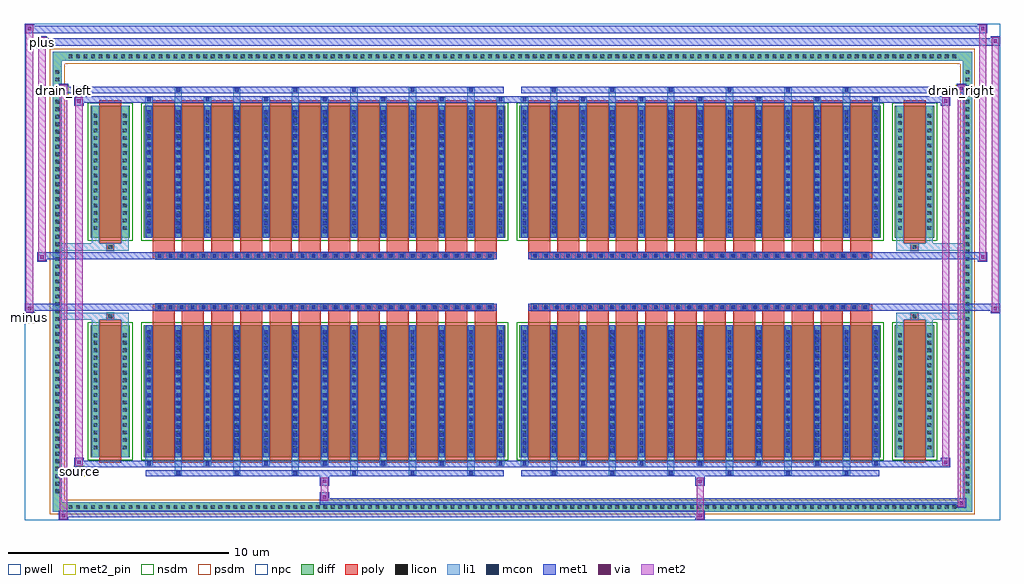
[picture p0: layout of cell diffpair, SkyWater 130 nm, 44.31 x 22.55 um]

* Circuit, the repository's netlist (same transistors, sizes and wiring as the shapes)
* NGSPICE file created from diffpair.ext - technology: sky130A

.subckt diffpair minus drain_right drain_left source plus
X0 source plus drain_left a_n4174_n2088# sky130_fd_pr__nfet_01v8 ad=0.99 pd=6.33 as=0.99 ps=6.33 w=6 l=1
X1 source minus drain_right a_n4174_n2088# sky130_fd_pr__nfet_01v8 ad=0.99 pd=6.33 as=0.99 ps=6.33 w=6 l=1
X2 drain_right minus source a_n4174_n2088# sky130_fd_pr__nfet_01v8 ad=0.99 pd=6.33 as=0.99 ps=6.33 w=6 l=1
X3 a_n4174_n2088# a_n4174_n2088# a_n4174_n2088# a_n4174_n2088# sky130_fd_pr__nfet_01v8 ad=2.34 pd=12.78 as=18.72 ps=102.24 w=6 l=1
X4 source plus drain_left a_n4174_n2088# sky130_fd_pr__nfet_01v8 ad=0.99 pd=6.33 as=0.99 ps=6.33 w=6 l=1
X5 drain_left plus source a_n4174_n2088# sky130_fd_pr__nfet_01v8 ad=0.99 pd=6.33 as=0.99 ps=6.33 w=6 l=1
X6 source minus drain_right a_n4174_n2088# sky130_fd_pr__nfet_01v8 ad=2.34 pd=12.78 as=0.99 ps=6.33 w=6 l=1
X7 drain_left plus source a_n4174_n2088# sky130_fd_pr__nfet_01v8 ad=0.99 pd=6.33 as=0.99 ps=6.33 w=6 l=1
X8 drain_left plus source a_n4174_n2088# sky130_fd_pr__nfet_01v8 ad=0.99 pd=6.33 as=0.99 ps=6.33 w=6 l=1
X9 drain_right minus source a_n4174_n2088# sky130_fd_pr__nfet_01v8 ad=0.99 pd=6.33 as=0.99 ps=6.33 w=6 l=1
X10 drain_right minus source a_n4174_n2088# sky130_fd_pr__nfet_01v8 ad=0.99 pd=6.33 as=0.99 ps=6.33 w=6 l=1
X11 source minus drain_right a_n4174_n2088# sky130_fd_pr__nfet_01v8 ad=0.99 pd=6.33 as=0.99 ps=6.33 w=6 l=1
X12 drain_left plus source a_n4174_n2088# sky130_fd_pr__nfet_01v8 ad=0.99 pd=6.33 as=0.99 ps=6.33 w=6 l=1
X13 source plus drain_left a_n4174_n2088# sky130_fd_pr__nfet_01v8 ad=2.34 pd=12.78 as=0.99 ps=6.33 w=6 l=1
X14 drain_left plus source a_n4174_n2088# sky130_fd_pr__nfet_01v8 ad=0.99 pd=6.33 as=0.99 ps=6.33 w=6 l=1
X15 drain_left plus source a_n4174_n2088# sky130_fd_pr__nfet_01v8 ad=0.99 pd=6.33 as=2.34 ps=12.78 w=6 l=1
X16 source plus drain_left a_n4174_n2088# sky130_fd_pr__nfet_01v8 ad=0.99 pd=6.33 as=0.99 ps=6.33 w=6 l=1
X17 drain_right minus source a_n4174_n2088# sky130_fd_pr__nfet_01v8 ad=0.99 pd=6.33 as=0.99 ps=6.33 w=6 l=1
X18 source minus drain_right a_n4174_n2088# sky130_fd_pr__nfet_01v8 ad=0.99 pd=6.33 as=0.99 ps=6.33 w=6 l=1
X19 source plus drain_left a_n4174_n2088# sky130_fd_pr__nfet_01v8 ad=0.99 pd=6.33 as=0.99 ps=6.33 w=6 l=1
X20 drain_left plus source a_n4174_n2088# sky130_fd_pr__nfet_01v8 ad=0.99 pd=6.33 as=0.99 ps=6.33 w=6 l=1
X21 source plus drain_left a_n4174_n2088# sky130_fd_pr__nfet_01v8 ad=0.99 pd=6.33 as=0.99 ps=6.33 w=6 l=1
X22 drain_left plus source a_n4174_n2088# sky130_fd_pr__nfet_01v8 ad=0.99 pd=6.33 as=0.99 ps=6.33 w=6 l=1
X23 drain_right minus source a_n4174_n2088# sky130_fd_pr__nfet_01v8 ad=0.99 pd=6.33 as=0.99 ps=6.33 w=6 l=1
X24 drain_left plus source a_n4174_n2088# sky130_fd_pr__nfet_01v8 ad=0.99 pd=6.33 as=0.99 ps=6.33 w=6 l=1
X25 source plus drain_left a_n4174_n2088# sky130_fd_pr__nfet_01v8 ad=0.99 pd=6.33 as=0.99 ps=6.33 w=6 l=1
X26 source minus drain_right a_n4174_n2088# sky130_fd_pr__nfet_01v8 ad=0.99 pd=6.33 as=0.99 ps=6.33 w=6 l=1
X27 source plus drain_left a_n4174_n2088# sky130_fd_pr__nfet_01v8 ad=0.99 pd=6.33 as=0.99 ps=6.33 w=6 l=1
X28 drain_right minus source a_n4174_n2088# sky130_fd_pr__nfet_01v8 ad=0.99 pd=6.33 as=0.99 ps=6.33 w=6 l=1
X29 source plus drain_left a_n4174_n2088# sky130_fd_pr__nfet_01v8 ad=0.99 pd=6.33 as=0.99 ps=6.33 w=6 l=1
X30 source plus drain_left a_n4174_n2088# sky130_fd_pr__nfet_01v8 ad=0.99 pd=6.33 as=0.99 ps=6.33 w=6 l=1
X31 drain_right minus source a_n4174_n2088# sky130_fd_pr__nfet_01v8 ad=0.99 pd=6.33 as=2.34 ps=12.78 w=6 l=1
X32 drain_right minus source a_n4174_n2088# sky130_fd_pr__nfet_01v8 ad=0.99 pd=6.33 as=0.99 ps=6.33 w=6 l=1
X33 drain_left plus source a_n4174_n2088# sky130_fd_pr__nfet_01v8 ad=0.99 pd=6.33 as=2.34 ps=12.78 w=6 l=1
X34 source minus drain_right a_n4174_n2088# sky130_fd_pr__nfet_01v8 ad=0.99 pd=6.33 as=0.99 ps=6.33 w=6 l=1
X35 drain_right minus source a_n4174_n2088# sky130_fd_pr__nfet_01v8 ad=0.99 pd=6.33 as=2.34 ps=12.78 w=6 l=1
X36 source minus drain_right a_n4174_n2088# sky130_fd_pr__nfet_01v8 ad=2.34 pd=12.78 as=0.99 ps=6.33 w=6 l=1
X37 source minus drain_right a_n4174_n2088# sky130_fd_pr__nfet_01v8 ad=0.99 pd=6.33 as=0.99 ps=6.33 w=6 l=1
X38 drain_right minus source a_n4174_n2088# sky130_fd_pr__nfet_01v8 ad=0.99 pd=6.33 as=0.99 ps=6.33 w=6 l=1
X39 drain_right minus source a_n4174_n2088# sky130_fd_pr__nfet_01v8 ad=0.99 pd=6.33 as=0.99 ps=6.33 w=6 l=1
X40 drain_right minus source a_n4174_n2088# sky130_fd_pr__nfet_01v8 ad=0.99 pd=6.33 as=0.99 ps=6.33 w=6 l=1
X41 drain_left plus source a_n4174_n2088# sky130_fd_pr__nfet_01v8 ad=0.99 pd=6.33 as=0.99 ps=6.33 w=6 l=1
X42 drain_left plus source a_n4174_n2088# sky130_fd_pr__nfet_01v8 ad=0.99 pd=6.33 as=0.99 ps=6.33 w=6 l=1
X43 a_n4174_n2088# a_n4174_n2088# a_n4174_n2088# a_n4174_n2088# sky130_fd_pr__nfet_01v8 ad=2.34 pd=12.78 as=0 ps=0 w=6 l=1
X44 a_n4174_n2088# a_n4174_n2088# a_n4174_n2088# a_n4174_n2088# sky130_fd_pr__nfet_01v8 ad=2.34 pd=12.78 as=0 ps=0 w=6 l=1
X45 source minus drain_right a_n4174_n2088# sky130_fd_pr__nfet_01v8 ad=0.99 pd=6.33 as=0.99 ps=6.33 w=6 l=1
X46 source minus drain_right a_n4174_n2088# sky130_fd_pr__nfet_01v8 ad=0.99 pd=6.33 as=0.99 ps=6.33 w=6 l=1
X47 source plus drain_left a_n4174_n2088# sky130_fd_pr__nfet_01v8 ad=0.99 pd=6.33 as=0.99 ps=6.33 w=6 l=1
X48 source minus drain_right a_n4174_n2088# sky130_fd_pr__nfet_01v8 ad=0.99 pd=6.33 as=0.99 ps=6.33 w=6 l=1
X49 source minus drain_right a_n4174_n2088# sky130_fd_pr__nfet_01v8 ad=0.99 pd=6.33 as=0.99 ps=6.33 w=6 l=1
X50 a_n4174_n2088# a_n4174_n2088# a_n4174_n2088# a_n4174_n2088# sky130_fd_pr__nfet_01v8 ad=2.34 pd=12.78 as=0 ps=0 w=6 l=1
X51 source plus drain_left a_n4174_n2088# sky130_fd_pr__nfet_01v8 ad=2.34 pd=12.78 as=0.99 ps=6.33 w=6 l=1
.ends

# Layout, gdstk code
import gdstk
lib = gdstk.Library(unit=1e-6, precision=5e-09)
def R(c, l, rs):  # rectangles x0, y0, x1, y1
    for r in rs: c.add(gdstk.rectangle(r[:2], r[2:], *l))
def A(c, l, x, y, w, h, nx, ny, dx, dy):  # array of equal rectangles
    R(c, l, [(x+i*dx, y+j*dy, x+i*dx+w, y+j*dy+h) for i in range(nx) for j in range(ny)])
def P(c, l, *ps):  # polygons
    for p in ps: c.add(gdstk.Polygon(p, *l))
pwell = (64, 44)
diff = (65, 20)
poly = (66, 20)
licon = (66, 44)
li1 = (67, 20)
mcon = (67, 44)
met1 = (68, 20)
via = (68, 44)
met2_pin = (69, 16)
met2 = (69, 20)
nsdm = (93, 44)
psdm = (94, 20)
npc = (95, 20)

diffpair = lib.new_cell('diffpair')
R(diffpair, pwell, [(-22.14,-10.84,22.14,11.71), (-19.46,-9.03,-0.01,-0.805), (0.01,-9.03,19.46,-0.805), (-19.46,0.805,-0.01,9.03), (0.01,0.805,19.46,9.03)])
A(diffpair, diff, -20.265, -10.44, 0.41, 0.41, 119, 2, 0.34, 20.47)
A(diffpair, diff, -20.87, -9.725, 0.41, 0.41, 1, 57, 0, 0.34)
A(diffpair, diff, 20.46, -9.725, 0.41, 0.41, 1, 57, 0, 0.34)
R(diffpair, diff, [(-20.265,-10.44,20.265,-10.03), (-20.87,-9.725,-20.46,9.725), (20.46,-9.725,20.87,9.725), (-19.15,-7.985,-17.37,-1.985), (-16.73,-7.985,-0.32,-1.985), (0.32,-7.985,16.73,-1.985), (17.37,-7.985,19.15,-1.985), (-19.15,1.985,-17.37,7.985), (-16.73,1.985,-0.32,7.985), (0.32,1.985,16.73,7.985), (17.37,1.985,19.15,7.985), (-20.265,10.03,20.265,10.44)])
P(diffpair, diff, [(20.87,10.44),(-20.87,10.44),(-20.87,-10.03),(-20.46,-10.03),(-20.46,10.03),(20.46,10.03),(20.46,-10.03),(-20.46,-10.03),(-20.87,-10.03),(-20.87,-10.44),(20.87,-10.44)])
A(diffpair, poly, -16.34, -8.235, 1, 6.5, 12, 2, 1.33, 9.97)
A(diffpair, poly, 0.71, -8.235, 1, 6.5, 12, 2, 1.33, 9.97)
A(diffpair, poly, -16.34, -1.735, 1, 0.4, 12, 2, 1.33, 3.07)
A(diffpair, poly, 0.71, -1.735, 1, 0.4, 12, 2, 1.33, 3.07)
A(diffpair, poly, -16.19, -1.335, 0.33, 0.33, 31, 2, 0.5, 2.34)
A(diffpair, poly, 0.86, -1.335, 0.33, 0.33, 31, 2, 0.5, 2.34)
R(diffpair, poly, [(-18.76,-8.235,-17.76,-1.735), (17.76,-8.235,18.76,-1.735), (-18.425,-1.735,-18.095,-1.405), (-18.425,-1.735,-18.095,-1.405), (18.095,-1.735,18.425,-1.405), (18.095,-1.735,18.425,-1.405), (-16.34,-1.335,-0.71,-1.005), (0.71,-1.335,16.34,-1.005), (-16.34,1.005,-0.71,1.335), (0.71,1.005,16.34,1.335), (-18.425,1.405,-18.095,1.735), (-18.425,1.405,-18.095,1.735), (18.095,1.405,18.425,1.735), (18.095,1.405,18.425,1.735), (-18.76,1.735,-17.76,8.235), (17.76,1.735,18.76,8.235)])
A(diffpair, licon, -20.145, -10.32, 0.17, 0.17, 119, 2, 0.34, 20.47)
A(diffpair, licon, -20.75, -9.605, 0.17, 0.17, 1, 57, 0, 0.34)
A(diffpair, licon, 20.58, -9.605, 0.17, 0.17, 1, 57, 0, 0.34)
A(diffpair, licon, -19.01, -7.62, 0.17, 0.17, 1, 16, 0, 0.34)
A(diffpair, licon, -17.68, -7.62, 0.17, 0.17, 1, 16, 0, 0.34)
A(diffpair, licon, -16.59, -7.62, 0.17, 0.17, 13, 16, 1.33, 0.34)
A(diffpair, licon, 0.46, -7.62, 0.17, 0.17, 13, 16, 1.33, 0.34)
A(diffpair, licon, 17.51, -7.62, 0.17, 0.17, 1, 16, 0, 0.34)
A(diffpair, licon, 18.84, -7.62, 0.17, 0.17, 1, 16, 0, 0.34)
A(diffpair, licon, -16.11, -1.255, 0.17, 0.17, 31, 2, 0.5, 2.34)
A(diffpair, licon, 0.94, -1.255, 0.17, 0.17, 31, 2, 0.5, 2.34)
A(diffpair, licon, -19.01, 2.35, 0.17, 0.17, 1, 16, 0, 0.34)
A(diffpair, licon, -17.68, 2.35, 0.17, 0.17, 1, 16, 0, 0.34)
A(diffpair, licon, -16.59, 2.35, 0.17, 0.17, 13, 16, 1.33, 0.34)
A(diffpair, licon, 0.46, 2.35, 0.17, 0.17, 13, 16, 1.33, 0.34)
A(diffpair, licon, 17.51, 2.35, 0.17, 0.17, 1, 16, 0, 0.34)
A(diffpair, licon, 18.84, 2.35, 0.17, 0.17, 1, 16, 0, 0.34)
R(diffpair, licon, [(-18.345,-1.655,-18.175,-1.485), (18.175,-1.655,18.345,-1.485), (-18.345,1.485,-18.175,1.655), (18.175,1.485,18.345,1.655)])
A(diffpair, li1, -20.225, -10.4, 0.33, 0.33, 119, 2, 0.34, 20.47)
A(diffpair, li1, -20.83, -9.685, 0.33, 0.33, 1, 57, 0, 0.34)
A(diffpair, li1, 20.5, -9.685, 0.33, 0.33, 1, 57, 0, 0.34)
A(diffpair, li1, -15.34, -8.79, 0.33, 0.805, 6, 2, 2.66, 16.775)
A(diffpair, li1, -15.26, -8.79, 0.17, 0.17, 6, 2, 2.66, 17.41)
A(diffpair, li1, 1.71, -8.79, 0.33, 0.805, 6, 2, 2.66, 16.775)
A(diffpair, li1, 1.79, -8.79, 0.17, 0.17, 6, 2, 2.66, 17.41)
A(diffpair, li1, -16.67, -8.36, 0.33, 0.375, 7, 2, 2.66, 16.345)
A(diffpair, li1, -16.59, -8.36, 0.17, 0.17, 7, 2, 2.66, 16.55)
A(diffpair, li1, 0.38, -8.36, 0.33, 0.375, 7, 2, 2.66, 16.345)
A(diffpair, li1, 0.46, -8.36, 0.17, 0.17, 7, 2, 2.66, 16.55)
A(diffpair, li1, -16.67, -7.985, 0.33, 6, 13, 2, 1.33, 9.97)
A(diffpair, li1, 0.38, -7.985, 0.33, 6, 13, 2, 1.33, 9.97)
A(diffpair, li1, -16.59, -7.77, 0.17, 0.17, 13, 16, 1.33, 0.36)
A(diffpair, li1, -16.59, -7.77, 0.17, 5.57, 13, 2, 1.33, 9.97)
A(diffpair, li1, 0.46, -7.77, 0.17, 0.17, 13, 16, 1.33, 0.36)
A(diffpair, li1, 0.46, -7.77, 0.17, 5.57, 13, 2, 1.33, 9.97)
A(diffpair, li1, -19.09, -7.7, 0.33, 0.33, 1, 16, 0, 0.34)
A(diffpair, li1, -17.76, -7.7, 0.33, 0.33, 1, 16, 0, 0.34)
A(diffpair, li1, -16.67, -7.7, 0.33, 0.33, 13, 16, 1.33, 0.34)
A(diffpair, li1, 0.38, -7.7, 0.33, 0.33, 13, 16, 1.33, 0.34)
A(diffpair, li1, 17.43, -7.7, 0.33, 0.33, 1, 16, 0, 0.34)
A(diffpair, li1, 18.76, -7.7, 0.33, 0.33, 1, 16, 0, 0.34)
A(diffpair, li1, -16.19, -1.335, 0.33, 0.33, 31, 2, 0.5, 2.34)
A(diffpair, li1, 0.86, -1.335, 0.33, 0.33, 31, 2, 0.5, 2.34)
A(diffpair, li1, -16.59, 2.2, 0.17, 0.17, 13, 16, 1.33, 0.36)
A(diffpair, li1, 0.46, 2.2, 0.17, 0.17, 13, 16, 1.33, 0.36)
A(diffpair, li1, -19.09, 2.27, 0.33, 0.33, 1, 16, 0, 0.34)
A(diffpair, li1, -17.76, 2.27, 0.33, 0.33, 1, 16, 0, 0.34)
A(diffpair, li1, -16.67, 2.27, 0.33, 0.33, 13, 16, 1.33, 0.34)
A(diffpair, li1, 0.38, 2.27, 0.33, 0.33, 13, 16, 1.33, 0.34)
A(diffpair, li1, 17.43, 2.27, 0.33, 0.33, 1, 16, 0, 0.34)
A(diffpair, li1, 18.76, 2.27, 0.33, 0.33, 1, 16, 0, 0.34)
R(diffpair, li1, [(-20.87,-10.44,-20.46,-10.03), (-20.87,-10.44,-20.46,-10.03), (-20.46,-10.44,20.46,-10.03), (20.46,-10.44,20.87,-10.03), (20.46,-10.44,20.87,-10.03), (-20.87,-10.03,-20.46,10.03), (20.46,-10.03,20.87,10.03), (-19.09,-7.985,-18.76,-1.985), (-17.76,-7.985,-17.43,-1.985), (17.43,-7.985,17.76,-1.985), (18.76,-7.985,19.09,-1.985), (-19.09,-1.985,-18.76,-1.405), (-17.76,-1.985,-17.43,-1.405), (17.43,-1.985,17.76,-1.405), (18.76,-1.985,19.09,-1.405), (-20.87,-1.735,-18.425,-1.405), (-19.09,-1.735,-18.425,-1.405), (-18.425,-1.735,-18.095,-1.405), (-18.095,-1.735,-17.43,-1.405), (17.43,-1.735,18.095,-1.405), (18.095,-1.735,18.425,-1.405), (18.095,-1.735,20.87,-1.405), (18.425,-1.735,19.09,-1.405), (-20.87,1.405,-18.425,1.735), (-19.09,1.405,-18.425,1.735), (-19.09,1.405,-18.76,1.985), (-18.425,1.405,-18.095,1.735), (-18.095,1.405,-17.43,1.735), (-17.76,1.405,-17.43,1.985), (17.43,1.405,18.095,1.735), (17.43,1.405,17.76,1.985), (18.095,1.405,18.425,1.735), (18.095,1.405,20.87,1.735), (18.425,1.405,19.09,1.735), (18.76,1.405,19.09,1.985), (-19.09,1.985,-18.76,7.985), (-17.76,1.985,-17.43,7.985), (17.43,1.985,17.76,7.985), (18.76,1.985,19.09,7.985), (-20.87,10.03,-20.46,10.44), (-20.87,10.03,-20.46,10.44), (-20.46,10.03,20.46,10.44), (20.46,10.03,20.87,10.44), (20.46,10.03,20.87,10.44)])
A(diffpair, mcon, -15.26, -8.79, 0.17, 0.17, 6, 2, 2.66, 17.41)
A(diffpair, mcon, 1.79, -8.79, 0.17, 0.17, 6, 2, 2.66, 17.41)
A(diffpair, mcon, -16.59, -8.36, 0.17, 0.17, 7, 2, 2.66, 16.55)
A(diffpair, mcon, 0.46, -8.36, 0.17, 0.17, 7, 2, 2.66, 16.55)
A(diffpair, mcon, -16.59, -7.77, 0.17, 0.17, 13, 16, 1.33, 0.36)
A(diffpair, mcon, 0.46, -7.77, 0.17, 0.17, 13, 16, 1.33, 0.36)
A(diffpair, mcon, -16.11, -1.255, 0.17, 0.17, 31, 2, 0.5, 2.34)
A(diffpair, mcon, 0.94, -1.255, 0.17, 0.17, 31, 2, 0.5, 2.34)
A(diffpair, mcon, -16.59, 2.2, 0.17, 0.17, 13, 16, 1.33, 0.36)
A(diffpair, mcon, 0.46, 2.2, 0.17, 0.17, 13, 16, 1.33, 0.36)
A(diffpair, met1, -15.32, -8.85, 0.29, 0.29, 6, 2, 2.66, 17.41)
A(diffpair, met1, 1.73, -8.85, 0.29, 0.29, 6, 2, 2.66, 17.41)
A(diffpair, met1, -16.65, -8.42, 0.29, 0.29, 7, 2, 2.66, 16.55)
A(diffpair, met1, 0.4, -8.42, 0.29, 0.29, 7, 2, 2.66, 16.55)
A(diffpair, met1, -16.65, -7.985, 0.29, 6, 13, 2, 1.33, 9.97)
A(diffpair, met1, 0.4, -7.985, 0.29, 6, 13, 2, 1.33, 9.97)
A(diffpair, met1, -16.65, -7.83, 0.29, 0.29, 13, 16, 1.33, 0.36)
A(diffpair, met1, 0.4, -7.83, 0.29, 0.29, 13, 16, 1.33, 0.36)
A(diffpair, met1, -16.17, -1.315, 0.29, 0.29, 31, 2, 0.5, 2.34)
A(diffpair, met1, 0.88, -1.315, 0.29, 0.29, 31, 2, 0.5, 2.34)
A(diffpair, met1, -16.65, 2.14, 0.29, 0.29, 13, 16, 1.33, 0.36)
A(diffpair, met1, 0.4, 2.14, 0.29, 0.29, 13, 16, 1.33, 0.36)
R(diffpair, met1, [(-20.6,-10.84,-20.17,-10.41), (8.31,-10.84,8.74,-10.41), (-20.6,-10.7,8.74,-10.41), (20.17,-10.27,20.6,-9.84), (-8.74,-10.13,20.6,-9.84), (-8.74,-9.99,-8.31,-9.56), (-8.74,-9.28,-8.31,-8.85), (8.31,-9.28,8.74,-8.85), (-16.65,-8.85,-0.4,-8.56), (0.4,-8.85,16.65,-8.56), (-19.89,-8.42,-19.46,-7.99), (-19.89,-8.42,-16.65,-8.13), (-16.65,-8.42,-0.4,-8.13), (-0.4,-8.42,0.4,-8.13), (0.4,-8.42,16.65,-8.13), (16.65,-8.42,19.89,-8.13), (19.46,-8.42,19.89,-7.99), (-22.14,-1.435,-21.71,-1.005), (21.71,-1.435,22.14,-1.005), (-22.14,-1.335,-0.71,-1.005), (-16.34,-1.335,-0.71,-1.005), (0.71,-1.335,16.34,-1.005), (0.71,-1.335,22.14,-1.005), (-21.57,0.905,-21.14,1.335), (21.14,0.905,21.57,1.335), (-21.57,1.005,-16.34,1.335), (-16.34,1.005,-0.71,1.335), (0.71,1.005,16.34,1.335), (16.34,1.005,21.57,1.335), (-19.89,7.99,-19.46,8.42), (19.46,7.99,19.89,8.42), (-19.89,8.13,-16.65,8.42), (-16.65,8.13,-0.4,8.42), (-0.4,8.13,0.4,8.42), (0.4,8.13,16.65,8.42), (16.65,8.13,19.89,8.42), (-20.6,8.56,-20.17,8.99), (-20.6,8.56,-16.65,8.85), (-16.65,8.56,-0.4,8.85), (0.4,8.56,16.65,8.85), (16.65,8.56,20.6,8.85), (20.17,8.56,20.6,8.99), (-21.57,10.71,-21.14,11.14), (-21.57,10.71,-19.46,11.04), (-19.46,10.71,19.46,11.04), (19.46,10.71,22.14,11.04), (21.71,10.71,22.14,11.14), (-22.14,11.28,-21.71,11.71), (-22.14,11.28,-19.46,11.61), (-19.46,11.28,19.46,11.61), (19.46,11.28,21.57,11.61), (21.14,11.28,21.57,11.71)])
R(diffpair, via, [(-20.46,-10.7,-20.31,-10.55), (8.45,-10.7,8.6,-10.55), (20.31,-10.13,20.46,-9.98), (-8.6,-9.85,-8.45,-9.7), (-8.6,-9.14,-8.45,-8.99), (8.45,-9.14,8.6,-8.99), (-19.75,-8.28,-19.6,-8.13), (19.6,-8.28,19.75,-8.13), (-22,-1.295,-21.85,-1.145), (21.85,-1.295,22,-1.145), (-21.43,1.045,-21.28,1.195), (21.28,1.045,21.43,1.195), (-19.75,8.13,-19.6,8.28), (19.6,8.13,19.75,8.28), (-20.46,8.7,-20.31,8.85), (20.31,8.7,20.46,8.85), (-21.43,10.85,-21.28,11), (21.85,10.85,22,11), (-22,11.42,-21.85,11.57), (21.28,11.42,21.43,11.57)])
R(diffpair, met2_pin, [(-19.925,-8.87,-19.425,-8.37), (-22.175,-1.885,-21.675,-1.385), (-20.635,8.44,-20.135,8.94), (20.135,8.44,20.635,8.94), (-21.605,10.59,-21.105,11.09)])
R(diffpair, met2, [(-20.55,-10.79,-20.22,-10.46), (-20.55,-10.79,-20.22,8.94), (8.36,-10.79,8.69,-10.46), (8.36,-10.46,8.69,-9.23), (20.22,-10.22,20.55,-9.89), (20.22,-10.22,20.55,8.94), (-8.69,-9.94,-8.36,-9.61), (-8.69,-9.61,-8.36,-9.23), (-8.69,-9.23,-8.36,-8.9), (8.36,-9.23,8.69,-8.9), (-19.84,-8.37,-19.51,-8.04), (-19.84,-8.37,-19.51,8.37), (19.51,-8.37,19.84,-8.04), (19.51,-8.37,19.84,8.37), (-22.09,-1.385,-21.76,-1.055), (-22.09,-1.385,-21.76,11.66), (21.76,-1.385,22.09,-1.055), (21.76,-1.385,22.09,11.09), (-21.52,0.955,-21.19,1.285), (-21.52,0.955,-21.19,11.09), (21.19,0.955,21.52,1.285), (21.19,0.955,21.52,11.66), (-19.84,8.04,-19.51,8.37), (19.51,8.04,19.84,8.37), (-20.55,8.61,-20.22,8.94), (20.22,8.61,20.55,8.94), (-21.52,10.76,-21.19,11.09), (21.76,10.76,22.09,11.09), (-22.09,11.33,-21.76,11.66), (21.19,11.33,21.52,11.66)])
P(diffpair, met2, [(22.09,-1.385),(22.09,-1.385),(22.09,-1.055),(22.09,-1.055)],
  [(22.09,10.76),(22.09,10.76),(22.09,11.09),(22.09,11.09)],
  [(-21.76,-1.385),(-21.76,-1.385),(-21.76,-1.055),(-21.76,-1.055)],
  [(-21.76,11.33),(-21.76,11.33),(-21.76,11.66),(-21.76,11.66)],
  [(21.52,0.955),(21.52,0.955),(21.52,1.285),(21.52,1.285)],
  [(21.52,11.33),(21.52,11.33),(21.52,11.66),(21.52,11.66)],
  [(-21.19,0.955),(-21.19,0.955),(-21.19,1.285),(-21.19,1.285)],
  [(-21.19,10.76),(-21.19,10.76),(-21.19,11.09),(-21.19,11.09)],
  [(-20.22,-10.79),(-20.22,-10.79),(-20.22,-10.46),(-20.22,-10.46)],
  [(-20.22,8.61),(-20.22,8.61),(-20.22,8.94),(-20.22,8.94)],
  [(20.55,-10.22),(20.55,-10.22),(20.55,-9.89),(20.55,-9.89)],
  [(20.55,8.61),(20.55,8.61),(20.55,8.94),(20.55,8.94)],
  [(-19.51,-8.37),(-19.51,-8.37),(-19.51,-8.04),(-19.51,-8.04)],
  [(-19.51,8.04),(-19.51,8.04),(-19.51,8.37),(-19.51,8.37)],
  [(19.84,-8.37),(19.84,-8.37),(19.84,-8.04),(19.84,-8.04)],
  [(19.84,8.04),(19.84,8.04),(19.84,8.37),(19.84,8.37)])
R(diffpair, nsdm, [(-19.28,-8.115,-17.24,-1.855), (-16.86,-8.115,-0.19,-1.855), (0.19,-8.115,16.86,-1.855), (17.24,-8.115,19.28,-1.855), (-19.28,1.855,-17.24,8.115), (-16.86,1.855,-0.19,8.115), (0.19,1.855,16.86,8.115), (17.24,1.855,19.28,8.115)])
P(diffpair, psdm, [(21,10.57),(-21,10.57),(-21,-9.9),(-20.33,-9.9),(-20.33,9.9),(20.33,9.9),(20.33,-9.9),(-20.33,-9.9),(-21,-9.9),(-21,-10.57),(21,-10.57)])
A(diffpair, npc, -16.21, -1.355, 0.37, 0.37, 31, 2, 0.5, 2.34)
A(diffpair, npc, 0.84, -1.355, 0.37, 0.37, 31, 2, 0.5, 2.34)
R(diffpair, npc, [(-18.445,-1.755,-18.075,-1.385), (18.075,-1.755,18.445,-1.385), (-16.21,-1.355,-15.34,-0.985), (-16.21,-1.355,-15.34,-0.985), (-15.71,-1.355,-14.84,-0.985), (-15.71,-1.355,-14.84,-0.985), (-15.21,-1.355,-14.34,-0.985), (-15.21,-1.355,-14.34,-0.985), (-14.71,-1.355,-13.84,-0.985), (-14.71,-1.355,-13.84,-0.985), (-14.21,-1.355,-13.34,-0.985), (-14.21,-1.355,-13.34,-0.985), (-13.71,-1.355,-12.84,-0.985), (-13.71,-1.355,-12.84,-0.985), (-13.21,-1.355,-12.34,-0.985), (-13.21,-1.355,-12.34,-0.985), (-12.71,-1.355,-11.84,-0.985), (-12.71,-1.355,-11.84,-0.985), (-12.21,-1.355,-11.34,-0.985), (-12.21,-1.355,-11.34,-0.985), (-11.71,-1.355,-10.84,-0.985), (-11.71,-1.355,-10.84,-0.985), (-11.21,-1.355,-10.34,-0.985), (-11.21,-1.355,-10.34,-0.985), (-10.71,-1.355,-9.84,-0.985), (-10.71,-1.355,-9.84,-0.985), (-10.21,-1.355,-9.34,-0.985), (-10.21,-1.355,-9.34,-0.985), (-9.71,-1.355,-8.84,-0.985), (-9.71,-1.355,-8.84,-0.985), (-9.21,-1.355,-8.34,-0.985), (-9.21,-1.355,-8.34,-0.985), (-8.71,-1.355,-7.84,-0.985), (-8.71,-1.355,-7.84,-0.985), (-8.21,-1.355,-7.34,-0.985), (-8.21,-1.355,-7.34,-0.985), (-7.71,-1.355,-6.84,-0.985), (-7.71,-1.355,-6.84,-0.985), (-7.21,-1.355,-6.34,-0.985), (-7.21,-1.355,-6.34,-0.985), (-6.71,-1.355,-5.84,-0.985), (-6.71,-1.355,-5.84,-0.985), (-6.21,-1.355,-5.34,-0.985), (-6.21,-1.355,-5.34,-0.985), (-5.71,-1.355,-4.84,-0.985), (-5.71,-1.355,-4.84,-0.985), (-5.21,-1.355,-4.34,-0.985), (-5.21,-1.355,-4.34,-0.985), (-4.71,-1.355,-3.84,-0.985), (-4.71,-1.355,-3.84,-0.985), (-4.21,-1.355,-3.34,-0.985), (-4.21,-1.355,-3.34,-0.985), (-3.71,-1.355,-2.84,-0.985), (-3.71,-1.355,-2.84,-0.985), (-3.21,-1.355,-2.34,-0.985), (-3.21,-1.355,-2.34,-0.985), (-2.71,-1.355,-1.84,-0.985), (-2.71,-1.355,-1.84,-0.985), (-2.21,-1.355,-1.34,-0.985), (-2.21,-1.355,-1.34,-0.985), (-1.71,-1.355,-0.84,-0.985), (-1.71,-1.355,-0.84,-0.985), (0.84,-1.355,1.71,-0.985), (0.84,-1.355,1.71,-0.985), (1.34,-1.355,2.21,-0.985), (1.34,-1.355,2.21,-0.985), (1.84,-1.355,2.71,-0.985), (1.84,-1.355,2.71,-0.985), (2.34,-1.355,3.21,-0.985), (2.34,-1.355,3.21,-0.985), (2.84,-1.355,3.71,-0.985), (2.84,-1.355,3.71,-0.985), (3.34,-1.355,4.21,-0.985), (3.34,-1.355,4.21,-0.985), (3.84,-1.355,4.71,-0.985), (3.84,-1.355,4.71,-0.985), (4.34,-1.355,5.21,-0.985), (4.34,-1.355,5.21,-0.985), (4.84,-1.355,5.71,-0.985), (4.84,-1.355,5.71,-0.985), (5.34,-1.355,6.21,-0.985), (5.34,-1.355,6.21,-0.985), (5.84,-1.355,6.71,-0.985), (5.84,-1.355,6.71,-0.985), (6.34,-1.355,7.21,-0.985), (6.34,-1.355,7.21,-0.985), (6.84,-1.355,7.71,-0.985), (6.84,-1.355,7.71,-0.985), (7.34,-1.355,8.21,-0.985), (7.34,-1.355,8.21,-0.985), (7.84,-1.355,8.71,-0.985), (7.84,-1.355,8.71,-0.985), (8.34,-1.355,9.21,-0.985), (8.34,-1.355,9.21,-0.985), (8.84,-1.355,9.71,-0.985), (8.84,-1.355,9.71,-0.985), (9.34,-1.355,10.21,-0.985), (9.34,-1.355,10.21,-0.985), (9.84,-1.355,10.71,-0.985), (9.84,-1.355,10.71,-0.985), (10.34,-1.355,11.21,-0.985), (10.34,-1.355,11.21,-0.985), (10.84,-1.355,11.71,-0.985), (10.84,-1.355,11.71,-0.985), (11.34,-1.355,12.21,-0.985), (11.34,-1.355,12.21,-0.985), (11.84,-1.355,12.71,-0.985), (11.84,-1.355,12.71,-0.985), (12.34,-1.355,13.21,-0.985), (12.34,-1.355,13.21,-0.985), (12.84,-1.355,13.71,-0.985), (12.84,-1.355,13.71,-0.985), (13.34,-1.355,14.21,-0.985), (13.34,-1.355,14.21,-0.985), (13.84,-1.355,14.71,-0.985), (13.84,-1.355,14.71,-0.985), (14.34,-1.355,15.21,-0.985), (14.34,-1.355,15.21,-0.985), (14.84,-1.355,15.71,-0.985), (14.84,-1.355,15.71,-0.985), (15.34,-1.355,16.21,-0.985), (15.34,-1.355,16.21,-0.985), (-16.21,0.985,-15.34,1.355), (-16.21,0.985,-15.34,1.355), (-15.71,0.985,-14.84,1.355), (-15.71,0.985,-14.84,1.355), (-15.21,0.985,-14.34,1.355), (-15.21,0.985,-14.34,1.355), (-14.71,0.985,-13.84,1.355), (-14.71,0.985,-13.84,1.355), (-14.21,0.985,-13.34,1.355), (-14.21,0.985,-13.34,1.355), (-13.71,0.985,-12.84,1.355), (-13.71,0.985,-12.84,1.355), (-13.21,0.985,-12.34,1.355), (-13.21,0.985,-12.34,1.355), (-12.71,0.985,-11.84,1.355), (-12.71,0.985,-11.84,1.355), (-12.21,0.985,-11.34,1.355), (-12.21,0.985,-11.34,1.355), (-11.71,0.985,-10.84,1.355), (-11.71,0.985,-10.84,1.355), (-11.21,0.985,-10.34,1.355), (-11.21,0.985,-10.34,1.355), (-10.71,0.985,-9.84,1.355), (-10.71,0.985,-9.84,1.355), (-10.21,0.985,-9.34,1.355), (-10.21,0.985,-9.34,1.355), (-9.71,0.985,-8.84,1.355), (-9.71,0.985,-8.84,1.355), (-9.21,0.985,-8.34,1.355), (-9.21,0.985,-8.34,1.355), (-8.71,0.985,-7.84,1.355), (-8.71,0.985,-7.84,1.355), (-8.21,0.985,-7.34,1.355), (-8.21,0.985,-7.34,1.355), (-7.71,0.985,-6.84,1.355), (-7.71,0.985,-6.84,1.355), (-7.21,0.985,-6.34,1.355), (-7.21,0.985,-6.34,1.355), (-6.71,0.985,-5.84,1.355), (-6.71,0.985,-5.84,1.355), (-6.21,0.985,-5.34,1.355), (-6.21,0.985,-5.34,1.355), (-5.71,0.985,-4.84,1.355), (-5.71,0.985,-4.84,1.355), (-5.21,0.985,-4.34,1.355), (-5.21,0.985,-4.34,1.355), (-4.71,0.985,-3.84,1.355), (-4.71,0.985,-3.84,1.355), (-4.21,0.985,-3.34,1.355), (-4.21,0.985,-3.34,1.355), (-3.71,0.985,-2.84,1.355), (-3.71,0.985,-2.84,1.355), (-3.21,0.985,-2.34,1.355), (-3.21,0.985,-2.34,1.355), (-2.71,0.985,-1.84,1.355), (-2.71,0.985,-1.84,1.355), (-2.21,0.985,-1.34,1.355), (-2.21,0.985,-1.34,1.355), (-1.71,0.985,-0.84,1.355), (-1.71,0.985,-0.84,1.355), (0.84,0.985,1.71,1.355), (0.84,0.985,1.71,1.355), (1.34,0.985,2.21,1.355), (1.34,0.985,2.21,1.355), (1.84,0.985,2.71,1.355), (1.84,0.985,2.71,1.355), (2.34,0.985,3.21,1.355), (2.34,0.985,3.21,1.355), (2.84,0.985,3.71,1.355), (2.84,0.985,3.71,1.355), (3.34,0.985,4.21,1.355), (3.34,0.985,4.21,1.355), (3.84,0.985,4.71,1.355), (3.84,0.985,4.71,1.355), (4.34,0.985,5.21,1.355), (4.34,0.985,5.21,1.355), (4.84,0.985,5.71,1.355), (4.84,0.985,5.71,1.355), (5.34,0.985,6.21,1.355), (5.34,0.985,6.21,1.355), (5.84,0.985,6.71,1.355), (5.84,0.985,6.71,1.355), (6.34,0.985,7.21,1.355), (6.34,0.985,7.21,1.355), (6.84,0.985,7.71,1.355), (6.84,0.985,7.71,1.355), (7.34,0.985,8.21,1.355), (7.34,0.985,8.21,1.355), (7.84,0.985,8.71,1.355), (7.84,0.985,8.71,1.355), (8.34,0.985,9.21,1.355), (8.34,0.985,9.21,1.355), (8.84,0.985,9.71,1.355), (8.84,0.985,9.71,1.355), (9.34,0.985,10.21,1.355), (9.34,0.985,10.21,1.355), (9.84,0.985,10.71,1.355), (9.84,0.985,10.71,1.355), (10.34,0.985,11.21,1.355), (10.34,0.985,11.21,1.355), (10.84,0.985,11.71,1.355), (10.84,0.985,11.71,1.355), (11.34,0.985,12.21,1.355), (11.34,0.985,12.21,1.355), (11.84,0.985,12.71,1.355), (11.84,0.985,12.71,1.355), (12.34,0.985,13.21,1.355), (12.34,0.985,13.21,1.355), (12.84,0.985,13.71,1.355), (12.84,0.985,13.71,1.355), (13.34,0.985,14.21,1.355), (13.34,0.985,14.21,1.355), (13.84,0.985,14.71,1.355), (13.84,0.985,14.71,1.355), (14.34,0.985,15.21,1.355), (14.34,0.985,15.21,1.355), (14.84,0.985,15.71,1.355), (14.84,0.985,15.71,1.355), (15.34,0.985,16.21,1.355), (15.34,0.985,16.21,1.355), (-18.445,1.385,-18.075,1.755), (18.075,1.385,18.445,1.755)])
diffpair.add(gdstk.Label('minus', (-21.925,-1.635), layer=69, texttype=5))
diffpair.add(gdstk.Label('drain_right', (20.385,8.69), layer=69, texttype=5))
diffpair.add(gdstk.Label('drain_left', (-20.385,8.69), layer=69, texttype=5))
diffpair.add(gdstk.Label('source', (-19.675,-8.62), layer=69, texttype=5))
diffpair.add(gdstk.Label('plus', (-21.355,10.84), layer=69, texttype=5))

lib.write_gds('diffpair.gds')
